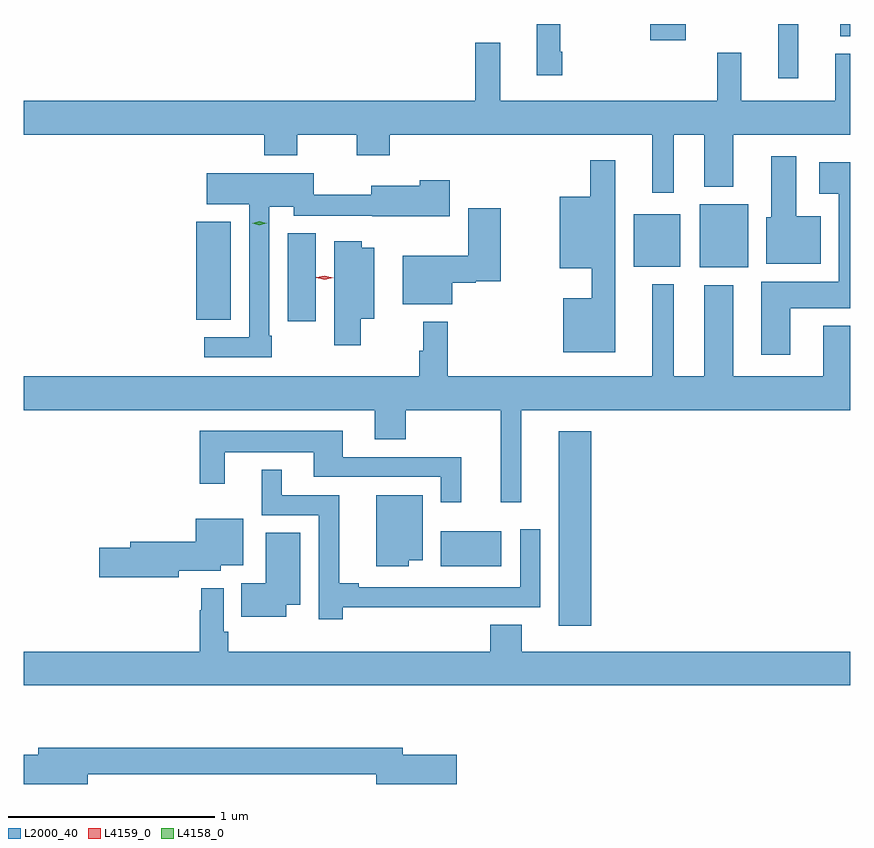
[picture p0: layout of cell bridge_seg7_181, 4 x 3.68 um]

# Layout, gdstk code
import gdstk
lib = gdstk.Library(unit=1e-6, precision=1e-09)
def R(c, l, rs):  # rectangles x0, y0, x1, y1
    for r in rs: c.add(gdstk.rectangle(r[:2], r[2:], *l))
def P(c, l, *ps):  # polygons
    for p in ps: c.add(gdstk.Polygon(p, *l))
L2000_40 = (2000, 40)
L4158_0 = (4158, 0)
L4159_0 = (4159, 0)

bridge_seg7_181 = lib.new_cell('bridge_seg7_181')
R(bridge_seg7_181, L2000_40, [(491.456,1022.217,491.615,1023.157), (490.886,1022.504,491.179,1022.674), (490.145,1023.69,490.282,1024.115), (489.704,1023.697,489.871,1024.171), (492.14,1023.95,492.373,1024.255), (491.819,1023.953,492.046,1024.207), (492.518,1024.866,492.615,1025.128), (491.899,1025.049,492.072,1025.128), (492.818,1025.069,492.868,1025.128)])
P(bridge_seg7_181, L2000_40, [(491.473,1024.993),(491.465,1024.993),(491.465,1025.128),(491.351,1025.128),(491.351,1024.881),(491.473,1024.881)],
  [(491.173,1025.038),(491.052,1025.038),(491.052,1024.756),(488.868,1024.756),(488.868,1024.592),(490.031,1024.592),(490.031,1024.493),(490.191,1024.493),(490.191,1024.592),(490.48,1024.592),(490.48,1024.493),(490.64,1024.493),(490.64,1024.592),(491.909,1024.592),(491.909,1024.311),(492.013,1024.311),(492.013,1024.592),(492.161,1024.592),(492.161,1024.34),(492.301,1024.34),(492.301,1024.592),(492.868,1024.592),(492.868,1024.984),(492.794,1024.984),(492.794,1024.756),(492.341,1024.756),(492.341,1024.99),(492.223,1024.99),(492.223,1024.756),(491.173,1024.756)],
  [(492.724,1024.198),(492.607,1024.198),(492.607,1024.489),(492.485,1024.489),(492.485,1024.194),(492.461,1024.194),(492.461,1023.968),(492.724,1023.968)],
  [(491.731,1024.468),(491.61,1024.468),(491.61,1024.291),(491.462,1024.291),(491.462,1023.947),(491.617,1023.947),(491.617,1023.802),(491.48,1023.802),(491.48,1023.539),(491.731,1023.539)],
  [(492.577,1023.752),(492.868,1023.752),(492.868,1024.459),(492.717,1024.459),(492.717,1024.307),(492.812,1024.307),(492.812,1023.88),(492.437,1023.88),(492.437,1023.528),(492.577,1023.528)],
  [(490.069,1023.619),(490.056,1023.619),(490.056,1024.244),(490.176,1024.244),(490.176,1024.2),(490.554,1024.2),(490.554,1024.199),(490.93,1024.199),(490.93,1024.372),(490.785,1024.372),(490.785,1024.345),(490.55,1024.345),(490.55,1024.301),(490.272,1024.301),(490.272,1024.405),(489.753,1024.405),(489.753,1024.256),(489.96,1024.256),(489.96,1023.612),(489.741,1023.612),(489.741,1023.516),(490.069,1023.516)],
  [(490.942,1023.877),(491.055,1023.877),(491.055,1023.884),(491.176,1023.884),(491.176,1024.237),(491.018,1024.237),(491.018,1024.006),(490.703,1024.006),(490.703,1023.773),(490.942,1023.773)],
  [(490.5,1023.701),(490.564,1023.701),(490.564,1024.045),(490.505,1024.045),(490.505,1024.078),(490.37,1024.078),(490.37,1023.573),(490.5,1023.573)],
  [(488.868,1023.26),(490.568,1023.26),(490.568,1023.118),(490.716,1023.118),(490.716,1023.26),(491.177,1023.26),(491.177,1022.814),(491.276,1022.814),(491.276,1023.26),(492.868,1023.26),(492.868,1023.667),(492.737,1023.667),(492.737,1023.424),(492.301,1023.424),(492.301,1023.865),(492.161,1023.865),(492.161,1023.424),(492.013,1023.424),(492.013,1023.868),(491.909,1023.868),(491.909,1023.424),(490.919,1023.424),(490.919,1023.688),(490.801,1023.688),(490.801,1023.548),(490.783,1023.548),(490.783,1023.424),(488.868,1023.424)],
  [(490.985,1023.033),(490.411,1023.033),(490.411,1023.16),(489.72,1023.16),(489.72,1022.904),(489.841,1022.904),(489.841,1023.056),(490.271,1023.056),(490.271,1022.937),(490.887,1022.937),(490.887,1022.814),(490.985,1022.814)],
  [(490.412,1022.306),(491.042,1022.306),(491.042,1022.307),(491.367,1022.307),(491.367,1022.683),(491.271,1022.683),(491.271,1022.403),(490.489,1022.403),(490.489,1022.423),(490.394,1022.423),(490.394,1022.847),(490.117,1022.847),(490.117,1022.971),(490.019,1022.971),(490.019,1022.751),(490.296,1022.751),(490.296,1022.247),(490.412,1022.247)],
  [(490.732,1022.534),(490.798,1022.534),(490.798,1022.848),(490.574,1022.848),(490.574,1022.504),(490.732,1022.504)],
  [(489.618,1022.483),(489.822,1022.483),(489.822,1022.51),(489.931,1022.51),(489.931,1022.734),(489.701,1022.734),(489.701,1022.624),(489.383,1022.624),(489.383,1022.594),(489.234,1022.594),(489.234,1022.452),(489.618,1022.452)],
  [(490.138,1022.318),(490.207,1022.318),(490.207,1022.666),(490.04,1022.666),(490.04,1022.422),(489.922,1022.422),(489.922,1022.261),(490.138,1022.261)],
  [(492.868,1022.092),(491.278,1022.092),(491.278,1022.222),(491.126,1022.222),(491.126,1022.092),(489.857,1022.092),(489.857,1022.188),(489.837,1022.188),(489.837,1022.398),(489.727,1022.398),(489.727,1022.291),(489.721,1022.291),(489.721,1022.092),(488.868,1022.092),(488.868,1021.928),(492.868,1021.928)],
  [(489.178,1021.498),(490.574,1021.498),(490.574,1021.451),(490.963,1021.451),(490.963,1021.593),(490.702,1021.593),(490.702,1021.627),(488.939,1021.627),(488.939,1021.593),(488.868,1021.593),(488.868,1021.451),(489.178,1021.451)])
P(bridge_seg7_181, L4158_0, [(490.009,1024.154),(489.974,1024.165),(489.974,1024.165),(489.974,1024.165),(490.009,1024.174),(490.044,1024.164),(490.044,1024.164),(490.044,1024.163)])
P(bridge_seg7_181, L4159_0, [(490.325,1023.891),(490.285,1023.901),(490.285,1023.901),(490.285,1023.902),(490.325,1023.911),(490.366,1023.901),(490.366,1023.9),(490.366,1023.9)])

lib.write_gds('bridge_seg7_181.gds')
